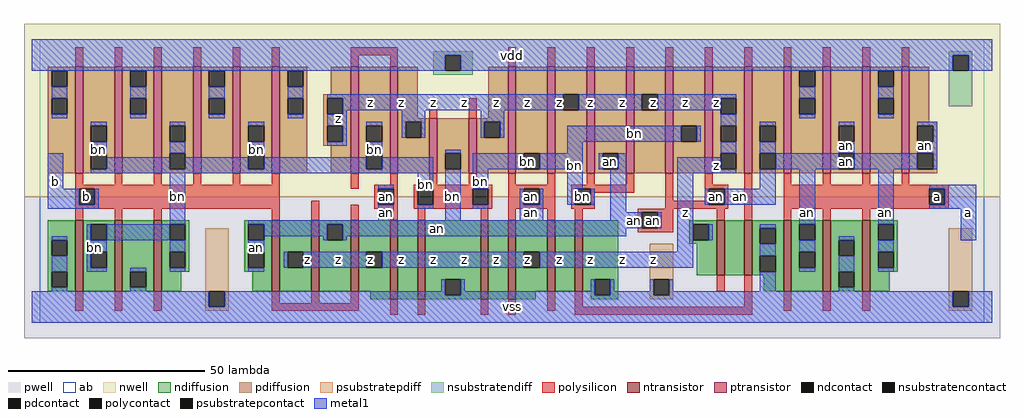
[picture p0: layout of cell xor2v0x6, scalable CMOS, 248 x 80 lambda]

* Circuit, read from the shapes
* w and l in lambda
.subckt xor2v0x6 a an b bn vdd vss z
M1 bn b vss vss nfet w=18 l=2 m=3
M2 z b an vss nfet w=18 l=2 m=3
M3 n1 an z vss nfet w=20 l=2
M4 vss bn n1 vss nfet w=20 l=2
M5 n2 bn vss vss nfet w=20 l=2
M6 z an n2 vss nfet w=20 l=2
M7 n3 an z vss nfet w=18 l=2
M8 vss bn n3 vss nfet w=18 l=2
M9 n4 an z vss nfet w=14 l=2
M10 vss bn n4 vss nfet w=14 l=2
M11 an a vss vss nfet w=18 l=2 m=3
M12 bn b vdd vdd pfet w=27 l=2 m=6
M13 bn an z vdd pfet w=27 l=2 m=6
M14 an bn z vdd pfet w=14 l=2 m=2
M15 an bn z vdd pfet w=27 l=2 m=3
M16 vdd a an vdd pfet w=27 l=2 m=4
.ends

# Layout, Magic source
magic
tech scmos
<< ab >>
rect 0 0 240 72
<< pwell >>
rect -4 -4 244 32
<< nwell >>
rect -4 32 244 76
<< polysilicon >>
rect 9 65 11 70
rect 19 65 21 70
rect 29 65 31 70
rect 39 65 41 70
rect 49 65 51 70
rect 59 65 61 70
rect 79 68 91 70
rect 79 65 81 68
rect 89 65 91 68
rect 119 65 121 70
rect 129 65 131 70
rect 139 65 141 70
rect 149 65 151 70
rect 159 65 161 70
rect 169 65 171 70
rect 179 65 181 70
rect 189 65 191 70
rect 199 65 201 70
rect 209 65 211 70
rect 219 65 221 70
rect 99 52 101 57
rect 109 52 111 57
rect 9 35 11 38
rect 19 35 21 38
rect 29 35 31 38
rect 39 35 41 38
rect 49 35 51 38
rect 59 35 61 38
rect 9 34 61 35
rect 79 34 81 38
rect 89 35 91 38
rect 99 35 101 38
rect 109 35 111 38
rect 119 35 121 38
rect 129 35 131 38
rect 139 35 141 38
rect 149 35 151 38
rect 85 34 91 35
rect 9 30 10 34
rect 14 30 61 34
rect 9 29 61 30
rect 9 26 11 29
rect 19 26 21 29
rect 29 26 31 29
rect 59 26 61 29
rect 69 26 71 31
rect 85 30 86 34
rect 90 30 91 34
rect 79 26 81 30
rect 85 29 91 30
rect 95 34 115 35
rect 95 30 96 34
rect 100 30 110 34
rect 114 30 115 34
rect 95 29 115 30
rect 119 34 131 35
rect 119 30 123 34
rect 127 30 131 34
rect 119 29 131 30
rect 135 34 151 35
rect 135 30 136 34
rect 140 33 151 34
rect 140 30 141 33
rect 135 29 141 30
rect 159 31 161 38
rect 169 35 171 38
rect 169 34 175 35
rect 169 31 170 34
rect 159 30 170 31
rect 174 30 175 34
rect 159 29 175 30
rect 89 26 91 29
rect 96 26 98 29
rect 112 26 114 29
rect 119 26 121 29
rect 129 26 131 29
rect 136 26 138 29
rect 152 28 161 29
rect 9 3 11 8
rect 19 3 21 8
rect 29 3 31 8
rect 59 5 61 8
rect 69 5 71 8
rect 79 5 81 8
rect 152 24 153 28
rect 157 24 161 28
rect 172 26 174 29
rect 179 26 181 38
rect 189 35 191 38
rect 199 35 201 38
rect 209 35 211 38
rect 219 35 221 38
rect 189 34 231 35
rect 189 30 226 34
rect 230 30 231 34
rect 189 29 231 30
rect 189 26 191 29
rect 199 26 201 29
rect 209 26 211 29
rect 152 23 161 24
rect 59 3 81 5
rect 89 2 91 6
rect 96 2 98 6
rect 112 2 114 6
rect 119 2 121 6
rect 129 3 131 8
rect 136 4 138 8
rect 172 8 174 12
rect 179 4 181 12
rect 136 2 181 4
rect 189 3 191 8
rect 199 3 201 8
rect 209 3 211 8
<< ndiffusion >>
rect 2 21 9 26
rect 2 17 3 21
rect 7 17 9 21
rect 2 13 9 17
rect 2 9 3 13
rect 7 9 9 13
rect 2 8 9 9
rect 11 25 19 26
rect 11 21 13 25
rect 17 21 19 25
rect 11 18 19 21
rect 11 14 13 18
rect 17 14 19 18
rect 11 8 19 14
rect 21 13 29 26
rect 21 9 23 13
rect 27 9 29 13
rect 21 8 29 9
rect 31 25 38 26
rect 31 21 33 25
rect 37 21 38 25
rect 52 25 59 26
rect 31 18 38 21
rect 31 14 33 18
rect 37 14 38 18
rect 31 13 38 14
rect 31 8 36 13
rect 52 21 53 25
rect 57 21 59 25
rect 52 18 59 21
rect 52 14 53 18
rect 57 14 59 18
rect 52 13 59 14
rect 54 8 59 13
rect 61 18 69 26
rect 61 14 63 18
rect 67 14 69 18
rect 61 8 69 14
rect 71 25 79 26
rect 71 21 73 25
rect 77 21 79 25
rect 71 8 79 21
rect 81 18 89 26
rect 81 14 83 18
rect 87 14 89 18
rect 81 8 89 14
rect 84 6 89 8
rect 91 6 96 26
rect 98 11 112 26
rect 98 7 103 11
rect 107 7 112 11
rect 98 6 112 7
rect 114 6 119 26
rect 121 18 129 26
rect 121 14 123 18
rect 127 14 129 18
rect 121 8 129 14
rect 131 8 136 26
rect 138 11 147 26
rect 165 25 172 26
rect 165 21 166 25
rect 170 21 172 25
rect 165 20 172 21
rect 138 8 141 11
rect 121 6 126 8
rect 140 7 141 8
rect 145 7 147 11
rect 140 6 147 7
rect 167 12 172 20
rect 174 12 179 26
rect 181 24 189 26
rect 181 20 183 24
rect 187 20 189 24
rect 181 17 189 20
rect 181 13 183 17
rect 187 13 189 17
rect 181 12 189 13
rect 184 8 189 12
rect 191 25 199 26
rect 191 21 193 25
rect 197 21 199 25
rect 191 18 199 21
rect 191 14 193 18
rect 197 14 199 18
rect 191 8 199 14
rect 201 21 209 26
rect 201 17 203 21
rect 207 17 209 21
rect 201 13 209 17
rect 201 9 203 13
rect 207 9 209 13
rect 201 8 209 9
rect 211 25 218 26
rect 211 21 213 25
rect 217 21 218 25
rect 211 18 218 21
rect 211 14 213 18
rect 217 14 218 18
rect 211 13 218 14
rect 211 8 216 13
<< pdiffusion >>
rect 2 64 9 65
rect 2 60 3 64
rect 7 60 9 64
rect 2 57 9 60
rect 2 53 3 57
rect 7 53 9 57
rect 2 38 9 53
rect 11 50 19 65
rect 11 46 13 50
rect 17 46 19 50
rect 11 43 19 46
rect 11 39 13 43
rect 17 39 19 43
rect 11 38 19 39
rect 21 64 29 65
rect 21 60 23 64
rect 27 60 29 64
rect 21 57 29 60
rect 21 53 23 57
rect 27 53 29 57
rect 21 38 29 53
rect 31 50 39 65
rect 31 46 33 50
rect 37 46 39 50
rect 31 43 39 46
rect 31 39 33 43
rect 37 39 39 43
rect 31 38 39 39
rect 41 64 49 65
rect 41 60 43 64
rect 47 60 49 64
rect 41 57 49 60
rect 41 53 43 57
rect 47 53 49 57
rect 41 38 49 53
rect 51 50 59 65
rect 51 46 53 50
rect 57 46 59 50
rect 51 43 59 46
rect 51 39 53 43
rect 57 39 59 43
rect 51 38 59 39
rect 61 64 68 65
rect 61 60 63 64
rect 67 60 68 64
rect 61 57 68 60
rect 74 58 79 65
rect 61 53 63 57
rect 67 53 68 57
rect 61 38 68 53
rect 72 57 79 58
rect 72 53 73 57
rect 77 53 79 57
rect 72 50 79 53
rect 72 46 73 50
rect 77 46 79 50
rect 72 45 79 46
rect 74 38 79 45
rect 81 50 89 65
rect 81 46 83 50
rect 87 46 89 50
rect 81 43 89 46
rect 81 39 83 43
rect 87 39 89 43
rect 81 38 89 39
rect 91 52 96 65
rect 114 52 119 65
rect 91 51 99 52
rect 91 47 93 51
rect 97 47 99 51
rect 91 38 99 47
rect 101 43 109 52
rect 101 39 103 43
rect 107 39 109 43
rect 101 38 109 39
rect 111 51 119 52
rect 111 47 113 51
rect 117 47 119 51
rect 111 38 119 47
rect 121 43 129 65
rect 121 39 123 43
rect 127 39 129 43
rect 121 38 129 39
rect 131 58 139 65
rect 131 54 133 58
rect 137 54 139 58
rect 131 38 139 54
rect 141 43 149 65
rect 141 39 143 43
rect 147 39 149 43
rect 141 38 149 39
rect 151 58 159 65
rect 151 54 153 58
rect 157 54 159 58
rect 151 38 159 54
rect 161 50 169 65
rect 161 46 163 50
rect 167 46 169 50
rect 161 38 169 46
rect 171 57 179 65
rect 171 53 173 57
rect 177 53 179 57
rect 171 50 179 53
rect 171 46 173 50
rect 177 46 179 50
rect 171 43 179 46
rect 171 39 173 43
rect 177 39 179 43
rect 171 38 179 39
rect 181 50 189 65
rect 181 46 183 50
rect 187 46 189 50
rect 181 43 189 46
rect 181 39 183 43
rect 187 39 189 43
rect 181 38 189 39
rect 191 64 199 65
rect 191 60 193 64
rect 197 60 199 64
rect 191 57 199 60
rect 191 53 193 57
rect 197 53 199 57
rect 191 38 199 53
rect 201 50 209 65
rect 201 46 203 50
rect 207 46 209 50
rect 201 43 209 46
rect 201 39 203 43
rect 207 39 209 43
rect 201 38 209 39
rect 211 64 219 65
rect 211 60 213 64
rect 217 60 219 64
rect 211 57 219 60
rect 211 53 213 57
rect 217 53 219 57
rect 211 38 219 53
rect 221 51 226 65
rect 221 50 228 51
rect 221 46 223 50
rect 227 46 228 50
rect 221 43 228 46
rect 221 39 223 43
rect 227 39 228 43
rect 221 38 228 39
<< metal1 >>
rect -2 68 242 72
rect -2 64 103 68
rect 107 64 232 68
rect 236 64 242 68
rect 3 57 7 60
rect 3 52 7 53
rect 23 57 27 60
rect 23 52 27 53
rect 43 57 47 60
rect 43 52 47 53
rect 63 57 67 60
rect 63 52 67 53
rect 73 57 133 58
rect 77 54 133 57
rect 137 54 153 58
rect 157 57 177 58
rect 157 54 173 57
rect 77 53 78 54
rect 13 50 17 51
rect 13 43 17 46
rect 2 34 6 43
rect 33 50 37 51
rect 33 43 37 46
rect 17 39 33 42
rect 53 50 57 51
rect 53 43 57 46
rect 73 50 78 53
rect 92 51 98 54
rect 77 46 78 50
rect 73 45 78 46
rect 83 50 87 51
rect 92 47 93 51
rect 97 47 98 51
rect 112 51 118 54
rect 112 47 113 51
rect 117 47 118 51
rect 173 50 177 53
rect 193 57 197 60
rect 193 52 197 53
rect 213 57 217 60
rect 213 52 217 53
rect 37 39 53 42
rect 83 43 87 46
rect 134 46 163 50
rect 167 46 168 50
rect 57 39 83 42
rect 103 43 107 44
rect 134 43 138 46
rect 173 43 177 46
rect 87 39 100 42
rect 13 38 100 39
rect 2 30 10 34
rect 14 30 15 34
rect 2 29 15 30
rect 33 25 37 38
rect 86 34 90 35
rect 86 26 90 30
rect 96 34 100 38
rect 96 29 100 30
rect 103 26 107 39
rect 110 39 123 43
rect 127 39 138 43
rect 142 39 143 43
rect 147 39 149 43
rect 110 34 114 39
rect 134 34 138 39
rect 110 29 114 30
rect 122 30 123 34
rect 127 30 128 34
rect 134 30 136 34
rect 140 30 141 34
rect 122 26 128 30
rect 145 28 149 39
rect 162 39 173 42
rect 162 38 177 39
rect 183 50 187 51
rect 183 43 187 46
rect 203 50 207 51
rect 203 43 207 46
rect 223 50 228 51
rect 227 46 228 50
rect 223 43 228 46
rect 187 39 203 43
rect 207 39 223 43
rect 227 39 228 43
rect 145 26 153 28
rect 3 21 7 22
rect 3 13 7 17
rect 12 21 13 25
rect 17 21 33 25
rect 12 18 17 21
rect 12 14 13 18
rect 33 18 37 21
rect 12 13 17 14
rect 23 13 27 14
rect 33 13 37 14
rect 53 25 153 26
rect 57 22 73 25
rect 72 21 73 22
rect 77 24 153 25
rect 157 24 158 28
rect 77 22 149 24
rect 77 21 78 22
rect 53 18 57 21
rect 162 18 166 38
rect 183 34 187 39
rect 169 30 170 34
rect 174 30 187 34
rect 193 25 197 39
rect 170 21 171 25
rect 183 24 187 25
rect 62 14 63 18
rect 67 14 83 18
rect 87 14 123 18
rect 127 14 166 18
rect 183 17 187 20
rect 53 13 57 14
rect 213 25 217 39
rect 226 34 238 35
rect 230 30 238 34
rect 226 29 238 30
rect 193 18 197 21
rect 193 13 197 14
rect 203 21 207 22
rect 203 13 207 17
rect 234 21 238 29
rect 213 18 217 21
rect 213 13 217 14
rect 3 8 7 9
rect 23 8 27 9
rect 102 8 103 11
rect -2 4 43 8
rect 47 7 103 8
rect 107 8 108 11
rect 140 8 141 11
rect 107 7 141 8
rect 145 8 146 11
rect 155 8 156 11
rect 145 7 156 8
rect 160 8 161 11
rect 183 8 187 13
rect 203 8 207 9
rect 160 7 232 8
rect 47 4 232 7
rect 236 4 242 8
rect -2 0 242 4
<< ntransistor >>
rect 9 8 11 26
rect 19 8 21 26
rect 29 8 31 26
rect 59 8 61 26
rect 69 8 71 26
rect 79 8 81 26
rect 89 6 91 26
rect 96 6 98 26
rect 112 6 114 26
rect 119 6 121 26
rect 129 8 131 26
rect 136 8 138 26
rect 172 12 174 26
rect 179 12 181 26
rect 189 8 191 26
rect 199 8 201 26
rect 209 8 211 26
<< ptransistor >>
rect 9 38 11 65
rect 19 38 21 65
rect 29 38 31 65
rect 39 38 41 65
rect 49 38 51 65
rect 59 38 61 65
rect 79 38 81 65
rect 89 38 91 65
rect 99 38 101 52
rect 109 38 111 52
rect 119 38 121 65
rect 129 38 131 65
rect 139 38 141 65
rect 149 38 151 65
rect 159 38 161 65
rect 169 38 171 65
rect 179 38 181 65
rect 189 38 191 65
rect 199 38 201 65
rect 209 38 211 65
rect 219 38 221 65
<< polycontact >>
rect 10 30 14 34
rect 86 30 90 34
rect 96 30 100 34
rect 110 30 114 34
rect 123 30 127 34
rect 136 30 140 34
rect 170 30 174 34
rect 153 24 157 28
rect 226 30 230 34
<< ndcontact >>
rect 3 17 7 21
rect 3 9 7 13
rect 13 21 17 25
rect 13 14 17 18
rect 23 9 27 13
rect 33 21 37 25
rect 33 14 37 18
rect 53 21 57 25
rect 53 14 57 18
rect 63 14 67 18
rect 73 21 77 25
rect 83 14 87 18
rect 103 7 107 11
rect 123 14 127 18
rect 166 21 170 25
rect 141 7 145 11
rect 183 20 187 24
rect 183 13 187 17
rect 193 21 197 25
rect 193 14 197 18
rect 203 17 207 21
rect 203 9 207 13
rect 213 21 217 25
rect 213 14 217 18
<< pdcontact >>
rect 3 60 7 64
rect 3 53 7 57
rect 13 46 17 50
rect 13 39 17 43
rect 23 60 27 64
rect 23 53 27 57
rect 33 46 37 50
rect 33 39 37 43
rect 43 60 47 64
rect 43 53 47 57
rect 53 46 57 50
rect 53 39 57 43
rect 63 60 67 64
rect 63 53 67 57
rect 73 53 77 57
rect 73 46 77 50
rect 83 46 87 50
rect 83 39 87 43
rect 93 47 97 51
rect 103 39 107 43
rect 113 47 117 51
rect 123 39 127 43
rect 133 54 137 58
rect 143 39 147 43
rect 153 54 157 58
rect 163 46 167 50
rect 173 53 177 57
rect 173 46 177 50
rect 173 39 177 43
rect 183 46 187 50
rect 183 39 187 43
rect 193 60 197 64
rect 193 53 197 57
rect 203 46 207 50
rect 203 39 207 43
rect 213 60 217 64
rect 213 53 217 57
rect 223 46 227 50
rect 223 39 227 43
<< psubstratepcontact >>
rect 43 4 47 8
rect 156 7 160 11
rect 232 4 236 8
<< nsubstratencontact >>
rect 103 64 107 68
rect 232 64 236 68
<< psubstratepdiff >>
rect 42 8 48 24
rect 42 4 43 8
rect 47 4 48 8
rect 42 3 48 4
rect 155 11 161 20
rect 155 7 156 11
rect 160 7 161 11
rect 155 6 161 7
rect 231 8 237 24
rect 231 4 232 8
rect 236 4 237 8
rect 231 3 237 4
<< nsubstratendiff >>
rect 100 68 110 69
rect 100 64 103 68
rect 107 64 110 68
rect 231 68 237 69
rect 100 63 110 64
rect 231 64 232 68
rect 236 64 237 68
rect 231 55 237 64
<< labels >>
rlabel polycontact 88 32 88 32 6 an
rlabel polysilicon 105 32 105 32 6 bn
rlabel polycontact 125 32 125 32 6 an
rlabel polycontact 138 32 138 32 6 bn
rlabel polycontact 156 26 156 26 6 an
rlabel polycontact 172 32 172 32 6 an
rlabel metal1 14 19 14 19 6 bn
rlabel polycontact 12 32 12 32 6 b
rlabel metal1 4 36 4 36 6 b
rlabel metal1 15 44 15 44 6 bn
rlabel metal1 35 32 35 32 6 bn
rlabel metal1 92 16 92 16 6 z
rlabel ndcontact 84 16 84 16 6 z
rlabel metal1 76 16 76 16 6 z
rlabel metal1 68 16 68 16 6 z
rlabel metal1 55 19 55 19 6 an
rlabel metal1 88 28 88 28 6 an
rlabel metal1 85 44 85 44 6 bn
rlabel metal1 55 44 55 44 6 bn
rlabel metal1 76 52 76 52 6 z
rlabel metal1 92 56 92 56 6 z
rlabel metal1 84 56 84 56 6 z
rlabel metal1 120 4 120 4 6 vss
rlabel metal1 100 16 100 16 6 z
rlabel metal1 108 16 108 16 6 z
rlabel metal1 116 16 116 16 6 z
rlabel ndcontact 124 16 124 16 6 z
rlabel metal1 132 16 132 16 6 z
rlabel metal1 140 16 140 16 6 z
rlabel metal1 125 28 125 28 6 an
rlabel metal1 98 35 98 35 6 bn
rlabel pdcontact 124 41 124 41 6 bn
rlabel metal1 112 36 112 36 6 bn
rlabel metal1 105 33 105 33 6 an
rlabel metal1 136 40 136 40 6 bn
rlabel metal1 140 56 140 56 6 z
rlabel metal1 132 56 132 56 6 z
rlabel metal1 124 56 124 56 6 z
rlabel metal1 116 56 116 56 6 z
rlabel metal1 108 56 108 56 6 z
rlabel metal1 100 56 100 56 6 z
rlabel metal1 120 68 120 68 6 vdd
rlabel metal1 156 16 156 16 6 z
rlabel metal1 148 16 148 16 6 z
rlabel metal1 101 24 101 24 6 an
rlabel metal1 164 28 164 28 6 z
rlabel metal1 178 32 178 32 6 an
rlabel metal1 151 26 151 26 6 an
rlabel metal1 172 40 172 40 6 z
rlabel pdcontact 145 41 145 41 6 an
rlabel metal1 151 48 151 48 6 bn
rlabel metal1 172 56 172 56 6 z
rlabel metal1 164 56 164 56 6 z
rlabel pdcontact 156 56 156 56 6 z
rlabel metal1 148 56 148 56 6 z
rlabel polycontact 228 32 228 32 6 a
rlabel metal1 236 28 236 28 6 a
rlabel metal1 205 45 205 45 6 an
rlabel metal1 225 45 225 45 6 an
rlabel pdcontact 205 41 205 41 6 an
rlabel metal1 215 28 215 28 6 an
rlabel metal1 195 28 195 28 6 an
<< end >>
